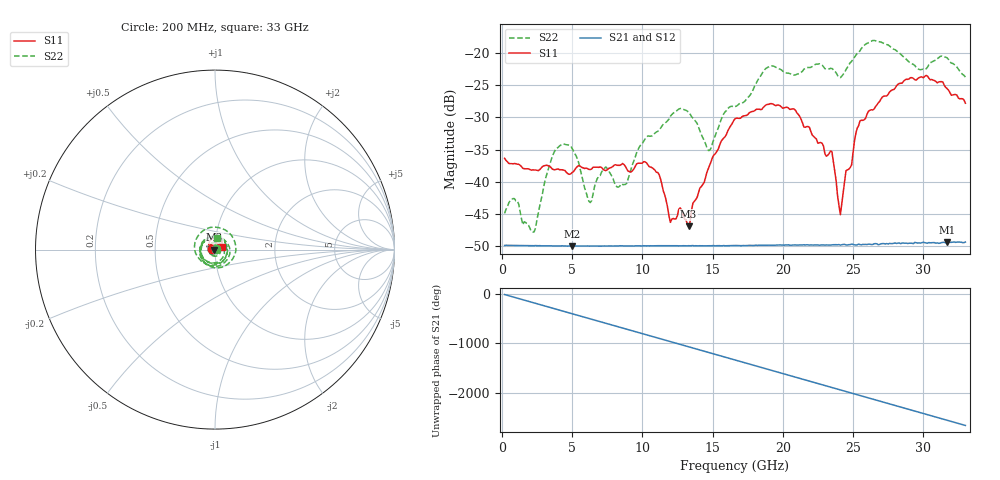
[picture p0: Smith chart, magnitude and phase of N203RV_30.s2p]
# GHZ S RI R 50
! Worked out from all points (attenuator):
!   329 points, 200 MHz to 33 GHz, reference 50 ohm
!   highest |S21| = -49.42 dB at 31.7 GHz (marker M1); lowest = -50.1 dB at 5 GHz (marker M2)
!   lowest |S11| = -47.0 dB at 13.3 GHz (marker M3), VSWR 1.01, Z = 49.6 + j0.0247 ohm
!   |S11| at or under -10 dB: start of sweep to end of sweep
!   |S22| runs from -47.9 to -18.0 dB; largest |S21 - S12| = 7.2e-05
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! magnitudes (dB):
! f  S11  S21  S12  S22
! 200 MHz  -36.4  -50.0  -49.9  -45.0
! 900 MHz  -37.2  -50.0  -50.0  -42.7
! 2.3 GHz  -38.2  -50.0  -50.0  -47.9
! 3.7 GHz  -38.1  -50.0  -50.0  -35.5
! 5 GHz  -38.6  -50.1  -50.1  -34.8
! 5.7 GHz  -37.8  -50.1  -50.0  -39.1
! 6.3 GHz  -38.1  -50.1  -50.0  -43.3
! 7.4 GHz  -38.3  -50.1  -50.1  -37.7
! 8.8 GHz  -37.6  -50.1  -50.0  -40.4
! 11.2 GHz  -38.9  -50.0  -50.0  -32.0
! 12 GHz  -46.4  -50.0  -50.0  -29.8
! 13.3 GHz  -47.0  -50.0  -50.0  -29.2
! 14.8 GHz  -37.4  -50.0  -50.0  -35.1
! 16.6 GHz  -30.2  -50.0  -50.0  -28.3
! 19.7 GHz  -28.1  -49.9  -49.9  -22.4
! 22.1 GHz  -32.8  -49.9  -49.9  -22.0
! 23.5 GHz  -35.4  -49.9  -49.8  -22.3
! 24.1 GHz  -45.2  -49.9  -49.8  -23.8
! 25.5 GHz  -30.5  -49.8  -49.8  -19.6
! 27.6 GHz  -26.0  -49.7  -49.7  -18.8
! 31.7 GHz  -25.5  -49.4  -49.6  -20.7
! 33 GHz  -27.8  -49.4  -49.4  -23.7
